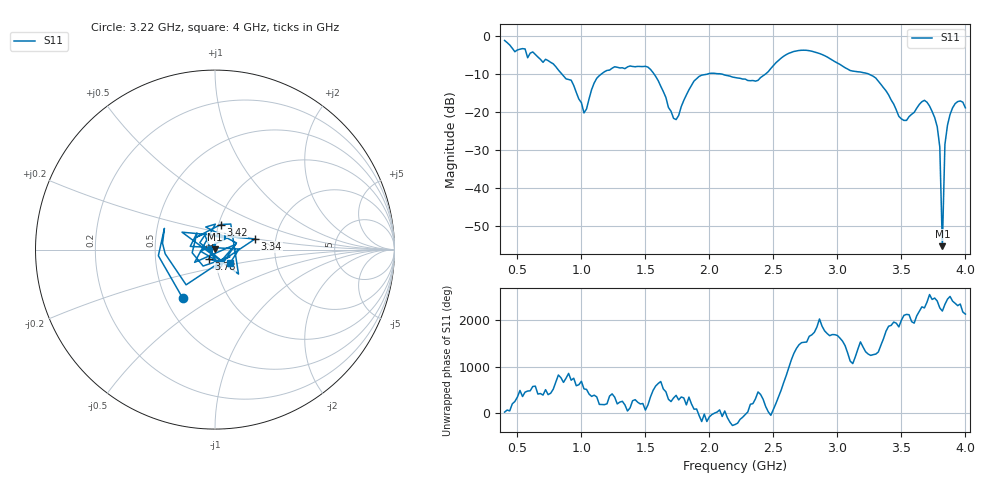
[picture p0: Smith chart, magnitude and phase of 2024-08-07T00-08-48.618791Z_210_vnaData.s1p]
!Created with skrf (http://scikit-rf.org).
# Hz S RI R 50.0
!freq ReS11 ImS11
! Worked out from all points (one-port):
!   181 points, 400 MHz to 4 GHz, reference 50 ohm
!   lowest |S11| = -55.4 dB at 3.82 GHz (marker M1), VSWR 1.00, Z = 50.2 + j0.0629 ohm
!   |S11| at or under -10 dB: 1.567 GHz to 1.989 GHz (422.5 MHz wide, 23.8 % of centre); 2.088 GHz to 2.44 GHz (352 MHz wide, 15.5 % of centre); 3.242 GHz to end of sweep (the widest 3 of 4)
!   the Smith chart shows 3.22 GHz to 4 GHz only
!   S11 on the Smith chart (normalised r, x): 3.22 GHz: 0.61, -0.37; 3.34 GHz: 1.56, +0.19; 3.42 GHz: 1.02, +0.29; 3.78 GHz: 0.93, -0.10; 4 GHz: 1.17, -0.18
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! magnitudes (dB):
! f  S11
! 400 MHz  -1.2
! 860 MHz  -10.5
! 920 MHz  -11.7
! 1.02 GHz  -20.3
! 1.12 GHz  -11.1
! 1.3 GHz  -8.4
! 1.52 GHz  -8.2
! 1.6 GHz  -11.8
! 1.72 GHz  -21.7
! 1.76 GHz  -21.0
! 1.92 GHz  -10.7
! 2.2 GHz  -11.0
! 2.38 GHz  -11.7
! 2.66 GHz  -4.1
! 3.1 GHz  -9.1
! 3.22 GHz  -9.8
! 3.34 GHz  -12.8
! 3.42 GHz  -16.9
! 3.5 GHz  -21.9
! 3.56 GHz  -21.3
! 3.68 GHz  -17.0
! 3.78 GHz  -23.9
! 3.8 GHz  -29.3
! 3.82 GHz  -55.4
! 3.84 GHz  -28.6
! 3.86 GHz  -23.5
! 3.92 GHz  -17.8
! 4 GHz  -18.9
